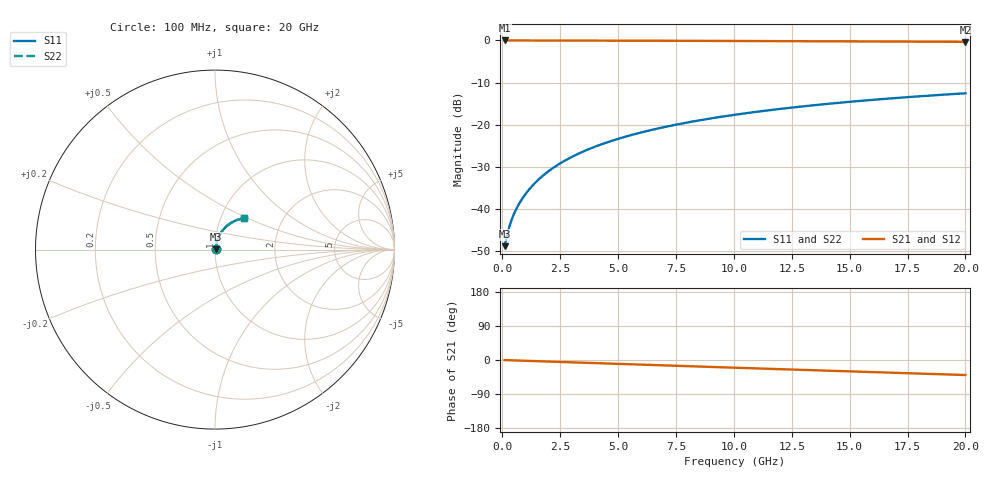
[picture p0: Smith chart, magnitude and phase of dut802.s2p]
! Touchstone file exported from HFSS 2026.1.0
!  File:  C:/ffzhzh/LocalFiles/Ansys_Project_Files/temp_train_BSMRDL_802_1783169728_55132.aedt
!  Generated:  08:56:41 PM Jul  4, 2026
!  Design:  BSMRDL
!  Project:  temp_train_BSMRDL_802_1783169728_55132
! Variables:
!  h_bsmrdl = 2.8um
!  h_ox = 20um
!  h_rdl = 5um
!  h_sub = 80um
!  h_tmrdl = 5um
!  h_tsv = 80um
!  h_via = 3um
!  l_bsmrdl = 639um
!  l_sub = 1039um
!  l_tmrdl = 200um
!  m_sub = 200um
!  pitch = 41.65um
!  r_tsv = 6um
!  s_tmrdl = 10um
!  w_bsmrdl = 28.19um
!  w_sub = 500um
!  w_tmrdl = 12um
!  x_tsv_center1 = 206um
!  x_tsv_center2 = 873.19um
!  x_tsv_center3 = 1085.19um
!  x_tsv_center4 = 1752.38um
!  x_tsv_center5 = 1964.38um
!  x_tsv_center6 = 2631.57um
# GHz S MA R 50.000000
! Terminal data exported
! Port[1] = BSM_RDL1_1_T1
! Port[2] = BSM_RDL1_1_T2
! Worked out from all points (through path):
!   200 points, 100 MHz to 20 GHz, reference 50 ohm
!   highest |S21| = -0.03 dB at 100 MHz (marker M1); lowest = -0.4 dB at 20 GHz (marker M2)
!   group delay of S21, straight-line fit = 5.5 ps
!   lowest |S11| = -48.8 dB at 100 MHz (marker M3), VSWR 1.01, Z = 50.3 + j0.175 ohm
!   |S11| at or under -10 dB: start of sweep to end of sweep
!   |S22| runs from -48.8 to -12.6 dB; largest |S21 - S12| = 2.7e-15
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0.1  0.003637 28.5  0.9968 -0.2  0.9968 -0.2  0.003637 28.5
! Gamma 0 0 0 0
! Port Impedance 50 0 50 0
0.2  0.004811 44.5  0.9966 -0.4  0.9966 -0.4  0.004811 44.5
0.3  0.00613 52.7  0.9963 -0.7  0.9963 -0.7  0.00613 52.7
0.4  0.007438 57.5  0.9961 -0.9  0.9961 -0.9  0.007438 57.5
0.5  0.008716 61.0  0.9959 -1.1  0.9959 -1.1  0.008716 61.0
0.6  0.009978 63.6  0.9957 -1.3  0.9957 -1.3  0.009978 63.6
0.8  0.0125 67.5  0.9955 -1.7  0.9955 -1.7  0.0125 67.5
1  0.01505 70.2  0.9953 -2.1  0.9953 -2.1  0.01505 70.2
1.2  0.01763 72.1  0.9952 -2.5  0.9952 -2.5  0.01763 72.1
1.7  0.02419 74.9  0.9949 -3.5  0.9949 -3.5  0.02419 74.9
2.2  0.03084 76.1  0.9946 -4.5  0.9946 -4.5  0.03084 76.2
2.8  0.03886 76.6  0.9941 -5.8  0.9941 -5.8  0.03886 76.6
3.5  0.04821 76.3  0.9934 -7.2  0.9934 -7.2  0.04821 76.3
4.2  0.0575 75.7  0.9927 -8.6  0.9927 -8.6  0.05751 75.7
5  0.06804 74.6  0.9916 -10.3  0.9916 -10.3  0.06805 74.7
5.9  0.07975 73.3  0.9904 -12.1  0.9904 -12.1  0.07976 73.3
6.8  0.09129 71.8  0.9889 -13.9  0.9889 -13.9  0.0913 71.8
8.3  0.1101 69.1  0.9862 -16.9  0.9862 -16.9  0.1101 69.1
10.1  0.1319 65.8  0.9827 -20.5  0.9827 -20.5  0.1319 65.8
13.4  0.1696 59.7  0.9754 -27.0  0.9754 -27.0  0.1697 59.7
16.7  0.2043 53.6  0.9676 -33.4  0.9676 -33.4  0.2043 53.6
20  0.2357 47.5  0.9597 -39.6  0.9597 -39.6  0.2357 47.5
